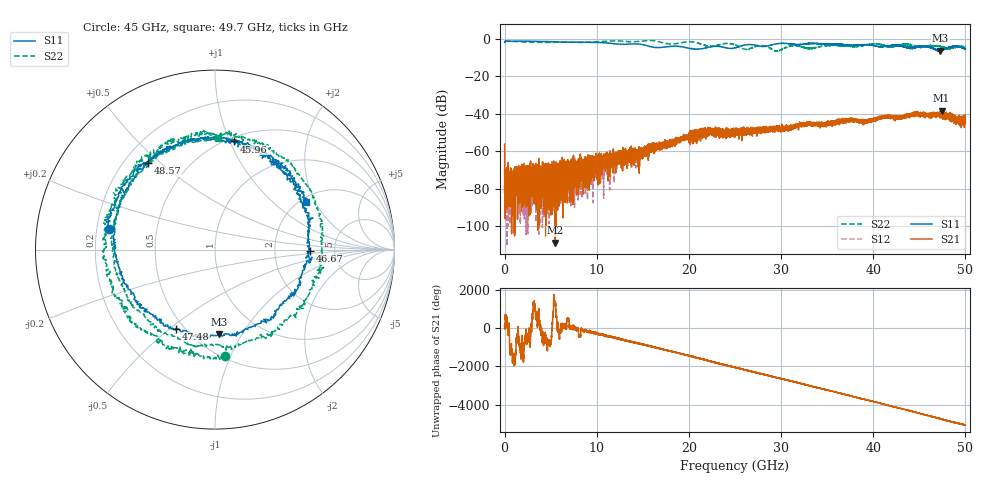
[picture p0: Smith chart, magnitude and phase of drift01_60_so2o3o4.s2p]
!Created with skrf (http://scikit-rf.org).
# Hz S RI R 50.0
!freq ReS11 ImS11 ReS21 ImS21 ReS12 ImS12 ReS22 ImS22
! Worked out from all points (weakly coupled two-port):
!   10001 points, 300 kHz to 50 GHz, reference 50 ohm
!   highest |S21| = -38.35 dB at 47.42 GHz (marker M1); lowest = -108.7 dB at 5.475 GHz (marker M2)
!   lowest |S11| = -6.5 dB at 47.28 GHz (marker M3), VSWR 2.78, Z = 33 - j40 ohm
!   |S11| at or under -10 dB: nowhere
!   |S22| runs from -6.8 to -1.0 dB; largest |S21 - S12| = 0.0036
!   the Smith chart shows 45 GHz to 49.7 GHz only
!   S11 on the Smith chart (normalised r, x): 45 GHz: 0.25, +0.09; 45.96 GHz: 0.54, +1.03; 46.67 GHz: 3.24, -0.06; 47.48 GHz: 0.45, -0.53; 48.57 GHz: 0.30, +0.45; 49.7 GHz: 2.16, +1.70
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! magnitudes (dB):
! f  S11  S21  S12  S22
! 300 kHz  -2.0  -56.3  -72.5  -1.3
! 255.3 MHz  -1.4  -70.7  -70.9  -1.4
! 375.3 MHz  -1.4  -73.8  -80.2  -1.4
! 5.475 GHz  -1.7  -108.7  -73.3  -2.0
! 8.335 GHz  -1.9  -68.7  -65.0  -2.1
! 16.67 GHz  -4.8  -57.2  -57.2  -1.6
! 22.26 GHz  -4.4  -49.6  -49.6  -4.2
! 25 GHz  -5.0  -49.4  -49.8  -3.4
! 28.09 GHz  -4.2  -48.6  -48.0  -3.8
! 29.56 GHz  -2.8  -48.4  -47.8  -6.7
! 31.26 GHz  -3.0  -47.4  -47.0  -3.9
! 33.34 GHz  -2.6  -45.6  -45.1  -5.3
! 41.67 GHz  -3.9  -41.8  -41.8  -4.4
! 45 GHz  -4.4  -39.6  -40.4  -4.5
! 45.96 GHz  -4.3  -40.8  -40.8  -4.0
! 46.67 GHz  -5.5  -40.8  -40.6  -3.7
! 47.28 GHz  -6.5  -41.2  -40.2  -4.2
! 47.42 GHz  -6.2  -38.4  -41.3  -4.6
! 47.48 GHz  -6.2  -40.4  -40.4  -4.4
! 48.57 GHz  -4.3  -42.8  -42.8  -5.1
! 49.7 GHz  -4.8  -45.4  -42.7  -4.1
! 50 GHz  -5.5  -44.5  -42.9  -4.2
